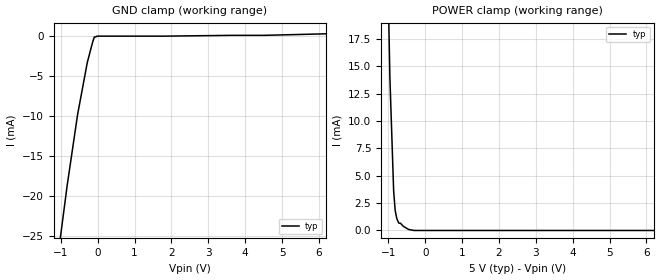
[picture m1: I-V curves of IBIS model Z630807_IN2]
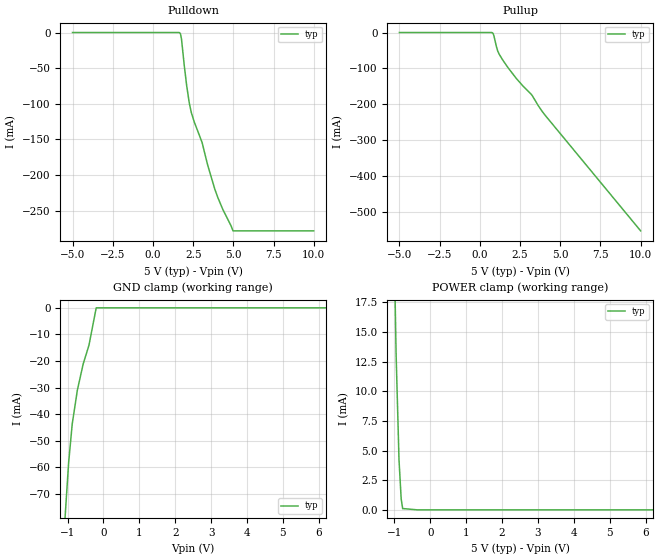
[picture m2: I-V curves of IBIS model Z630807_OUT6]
| YOU ARE ONLY AUTHORIZED TO USE THIS SOFTWARE
| ACCORDING TO LICENSOR'S LICENSE RESTRICTIONS.
[IBIS Ver] 3.1
[File Name] mc10ep05d_50.ibs
[File Rev] 1
[Source] Derived from mc10ep16d_50.ibs Measured and
|   created by ICX Technology
[Date] 9/25/2002
[Copyright]
| (C) COPYRIGHT 1993-2000
| MENTOR GRAPHICS CORPORATION
| ICX STANDARD LIBRARY, ICX PROJECT MODELING,
| ICX CUSTOM MODELING, ICX VENDOR MODEL
| ALL RIGHTS RESERVED.
| THE FOLLOWING ARE TRADEMARKS OR SERVICE MARKS OF
| MENTOR GRAPHICS CORPORATION:ICX (R), ICX STANDARD
| LIBRARY(R), ICX PROJECT MODELING(R), ICX CUSTOM
| MODELING(R), qualityIBIS(TM), MODELVIEWER(TM),
| AND MODELEDITOR(TM)
| ALL COPIES OF SOFTWARE, INCLUDING BUT NOT LIMITED TO
| ANY MODIFICATIONS, ENHANCEMENTS OR DERIVATIVE WORKS,
| MUST CONTAIN ALL MENTOR GRAPHICS CORPORATION'S
| NOTICES AND LEGENDS, INCLUDING THOSE EMBEDDED IN
| SOFTWARE AND THOSE AFFIXED TO SOFTWARE MEDIUM
| AND CONTAINER, AS RECEIVED FROM MENTOR GRAPHICS
| CORPORATION.
|  ZAP Model Builder 2.8
[Component] MC10EP05D_50
[Manufacturer] ON
[Package]
| variable   typ   min   max
R_pkg  .152ohms NA NA
L_pkg  2.714nH NA NA
C_pkg  .364pF NA NA
[Pin] signal_name  model_name  R_pin  L_pin C_pin
1 D0 Z630807_IN2 .15 2.504n .354p
2 _D0 Z630807_IN2 .15 2.504n .354p
3 D1 Z630807_IN2 .15 2.504n .354p
4 _D1 Z630807_IN2 .15 2.504n .354p
5 VEE GND .154 2.924n .374p
6 _Q Z630807_OUT6 .15 2.504n .354p
7 Q Z630807_OUT6 .15 2.504n .354p
8 VCC POWER .154 2.924n .374p
[Diff Pin] inv_pin vdiff tdelay_typ tdelay_min tdelay_max
1 2 150mv NA NA NA
3 4 150mv NA NA NA
7 6 NA .005ns NA .02ns
| Models and submodels in the file (2): Z630807_IN2 (Input_ECL), Z630807_OUT6 (Output_ECL)
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| (C) COPYRIGHT 1993-2000
| MENTOR GRAPHICS CORPORATION
| ICX STANDARD LIBRARY, ICX PROJECT MODELING,
| ICX CUSTOM MODELING, ICX VENDOR MODEL
| ALL RIGHTS RESERVED.
| THE FOLLOWING ARE TRADEMARKS OR SERVICE MARKS OF
| MENTOR GRAPHICS CORPORATION:ICX (R), ICX STANDARD
| LIBRARY(R), ICX PROJECT MODELING(R), ICX CUSTOM
| MODELING(R), qualityIBIS(TM), MODELVIEWER(TM),
| AND MODELEDITOR(TM)
| ALL COPIES OF SOFTWARE, INCLUDING BUT NOT LIMITED TO
| ANY MODIFICATIONS, ENHANCEMENTS OR DERIVATIVE WORKS,
| MUST CONTAIN ALL MENTOR GRAPHICS CORPORATION'S
| NOTICES AND LEGENDS, INCLUDING THOSE EMBEDDED IN
| SOFTWARE AND THOSE AFFIXED TO SOFTWARE MEDIUM
| AND CONTAINER, AS RECEIVED FROM MENTOR GRAPHICS
| CORPORATION.
| Model Application Version 1.89 2/18/99.
[Model] Z630807_IN2
Model_type Input_ECL
Vinl = 3.455V
Vinh = 3.855V
C_comp 1.000pF NA NA
| variable typ   min   max
[Voltage Range] 5.000V NA NA
[GND Clamp Reference] 0.000V NA NA
[POWER Clamp Reference] 5.000V NA NA
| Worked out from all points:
|   GND clamp passes 1 mA (typ) near -0.15 V on its own axis
|   POWER clamp passes 1 mA (typ) near -0.76 V on its own axis
[GND Clamp]
-5V       -166mA     NA         NA
-831mV    -18.7mA    NA         NA
-547mV    -9.8mA     NA         NA
-284mV    -3.3mA     NA         NA
-142mV    -800uA     NA         NA
-91.25mV  -100uA     NA         NA
-55.75mV  -100uA     NA         NA
-20.25mV  0A         NA         NA
1.804V    0A         NA         NA
3.628V    100uA      NA         NA
4.51V     100uA      NA         NA
10V       722.4uA    NA         NA
[POWER Clamp]
-5V       708.5mA    NA         NA
-960mV    14.04mA    NA         NA
-858mV    3.647mA    NA         NA
-817mV    1.852mA    NA         NA
-777mV    1.156mA    NA         NA
-757mV    958.6uA    NA         NA
-716mV    667.9uA    NA         NA
-675mV    667.9uA    NA         NA
-594mV    377.1uA    NA         NA
-452mV    93.2uA     NA         NA
-301.3mV  0A         NA         NA
10V       0A         NA         NA
| (C) COPYRIGHT 1993-2000
| MENTOR GRAPHICS CORPORATION
| ICX STANDARD LIBRARY, ICX PROJECT MODELING,
| ICX CUSTOM MODELING, ICX VENDOR MODEL
| ALL RIGHTS RESERVED.
| THE FOLLOWING ARE TRADEMARKS OR SERVICE MARKS OF
| MENTOR GRAPHICS CORPORATION:ICX (R), ICX STANDARD
| LIBRARY(R), ICX PROJECT MODELING(R), ICX CUSTOM
| MODELING(R), qualityIBIS(TM), MODELVIEWER(TM),
| AND MODELEDITOR(TM)
| ALL COPIES OF SOFTWARE, INCLUDING BUT NOT LIMITED TO
| ANY MODIFICATIONS, ENHANCEMENTS OR DERIVATIVE WORKS,
| MUST CONTAIN ALL MENTOR GRAPHICS CORPORATION'S
| NOTICES AND LEGENDS, INCLUDING THOSE EMBEDDED IN
| SOFTWARE AND THOSE AFFIXED TO SOFTWARE MEDIUM
| AND CONTAINER, AS RECEIVED FROM MENTOR GRAPHICS
| CORPORATION.
| Model Application Version 1.89 2/18/99.
[Model] Z630807_OUT6
Model_type Output_ECL
Vref=3.000V
Rref=50.00ohms
Cref=0.000F
Vmeas=3.655V
C_comp 2.000pF NA NA
| variable typ   min   max
[Voltage Range] 5.000V NA NA
[POWER Clamp Reference] 5.000V NA NA
[Pullup Reference] 5.000V NA NA
[Pulldown Reference] 5.000V NA NA
[GND Clamp Reference] 0.000V NA NA
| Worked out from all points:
|   GND clamp passes 1 mA (typ) near -0.22 V on its own axis
|   POWER clamp passes 1 mA (typ) near -0.81 V on its own axis
[GND Clamp]
-5V       -1.12A     NA         NA
-1.095V   -83.9mA    NA         NA
-973mV    -58.5mA    NA         NA
-872mV    -43.8mA    NA         NA
-730mV    -31.1mA    NA         NA
-567mV    -21.2mA    NA         NA
-405mV    -14.1mA    NA         NA
-202.5mV  0A         NA         NA
10V       0A         NA         NA
[Pulldown]
-5V       0A         NA         NA
1.676V    -600uA     NA         NA
1.777V    -9.2mA     NA         NA
2.101V    -75mA      NA         NA
2.264V    -99.3mA    NA         NA
2.385V    -112.2mA   NA         NA
3.054V    -154.1mA   NA         NA
3.399V    -185.6mA   NA         NA
3.845V    -219.6mA   NA         NA
4.351V    -248.5mA   NA         NA
4.979V    -278.3mA   NA         NA
10V       -278.3mA   NA         NA
[Pullup]
-5V       0A         NA         NA
809mV     -1.7mA     NA         NA
870mV     -7.7mA     NA         NA
1.032V    -39.1mA    NA         NA
1.113V    -51.5mA    NA         NA
1.397V    -74.7mA    NA         NA
1.741V    -97.2mA    NA         NA
2.268V    -127.9mA   NA         NA
3.201V    -172.3mA   NA         NA
3.627V    -203.3mA   NA         NA
4.052V    -230.1mA   NA         NA
10V       -552.8mA   NA         NA
[POWER Clamp]
-5V       700.6mA    NA         NA
-955mV    13.1mA     NA         NA
-874mV    4.2mA      NA         NA
-813mV    900uA      NA         NA
-772mV    100uA      NA         NA
-731mV    100uA      NA         NA
-365.5mV  0A         NA         NA
10V       0A         NA         NA
[Ramp]
| variable typ min max
dV/dt_r 236.4m/105.0p NA NA
dV/dt_f 236.4m/116.6p NA NA
R_load = 50.00Ohms
